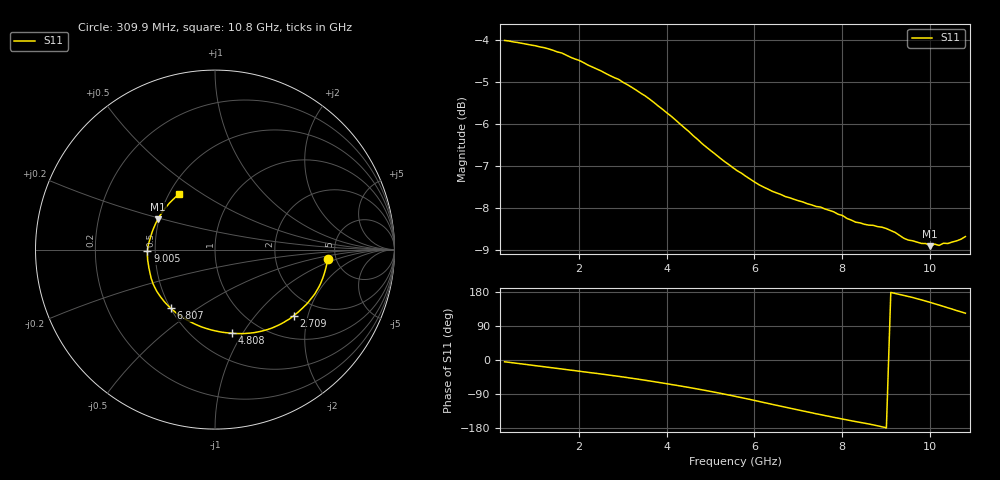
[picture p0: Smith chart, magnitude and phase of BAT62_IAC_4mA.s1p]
! Infineon Technologies  Discrete & RF Semiconductors
! BAT62
! IAC = 4 mA
! One-Port S-Parameters
# Hz  S  MA  R  50
!f  S11
!Hz  Mag  Ang
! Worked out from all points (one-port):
!   106 points, 309.9 MHz to 10.8 GHz, reference 50 ohm
!   lowest |S11| = -8.9 dB at 10.01 GHz (marker M1), VSWR 2.12, Z = 24.7 + j9.56 ohm
!   |S11| at or under -10 dB: nowhere
!   S11 on the Smith chart (normalised r, x): 309.9 MHz: 4.27, -0.74; 2.709 GHz: 1.49, -1.63; 4.808 GHz: 0.75, -0.90; 6.807 GHz: 0.50, -0.39; 9.005 GHz: 0.45, -0.01; 10.8 GHz: 0.56, +0.40
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3.0985e8  0.6302 -4.7
1.0095e9  0.6211 -14.9
1.4093e9  0.6135 -20.8
1.70915e9  0.6055 -25.2
2.10895e9  0.593 -31.1
2.70865e9  0.5724 -40.0
3.0085e9  0.5618 -44.8
3.30835e9  0.5499 -49.9
3.70815e9  0.5318 -57.1
4.30785e9  0.5011 -68.4
4.8076e9  0.475 -78.7
5.2074e9  0.457 -87.5
5.6072e9  0.441 -97.0
6.10695e9  0.4243 -109.4
6.50675e9  0.4149 -119.6
6.8066e9  0.4094 -127.1
6.90655e9  0.4077 -129.5
7.2064e9  0.4028 -136.9
7.6062e9  0.3971 -146.6
8.006e9  0.3901 -155.9
8.2059e9  0.3852 -160.3
8.6057e9  0.3799 -168.8
9.0055e9  0.3763 -178.9
9.50525e9  0.3647 167.6
9.8051e9  0.3613 158.6
1.0005e10  0.3586 152.0
1.030485e10  0.3615 141.5
1.08046e10  0.3682 123.5
